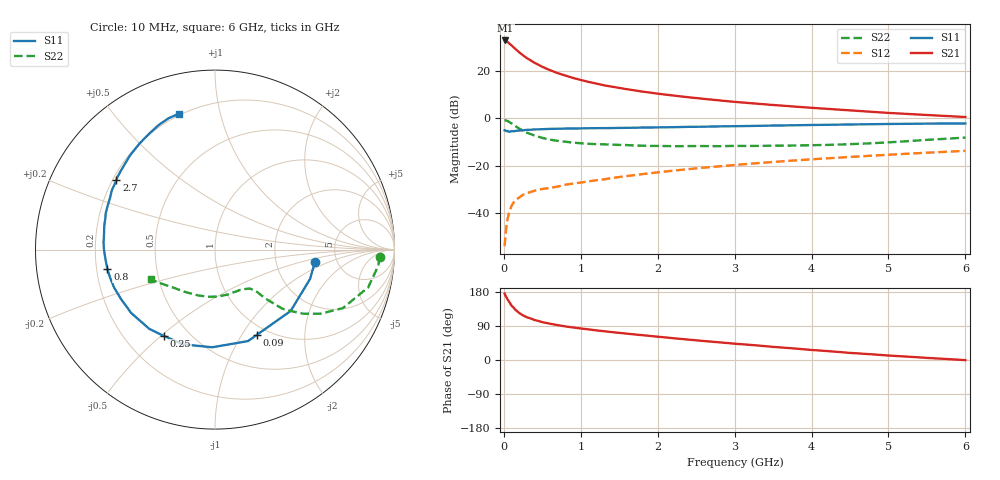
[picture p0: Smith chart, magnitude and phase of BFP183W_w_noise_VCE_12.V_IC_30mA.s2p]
! Infineon Technologies  Discrete & RF Semiconductors
! BFP183W
! VCE =  12. V,  IC =  30 mA
! Common Emitter S-Parameters:  Jan 2017
# GHz  S  MA  R  50
!  f  S11  S21  S12  S22
! GHz  MAG  ANG  MAG  ANG  MAG  ANG  MAG  ANG
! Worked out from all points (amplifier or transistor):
!   77 points, 10 MHz to 6 GHz, reference 50 ohm
!   highest |S21| = 32.9 dB at 20 MHz (marker M1)
!   |S21| within 3 dB of that: start of sweep to 130.6 MHz
!   unconditionally stable (mu >= 1): start of sweep to 10.09 MHz; 1.193 GHz to 3.795 GHz
!   at 130 MHz: K = 0.35, MSG = 32.7 dB, |S12| = -35.4 dB
!   at 2.2 GHz: K = 1.09, MAG = 14.1 dB, |S12| = -22.1 dB
!   at 6 GHz: K = 0.85, MSG = 7.1 dB, |S12| = -13.7 dB
!   lowest NFmin = 1.39 dB at 450 MHz
!   S11 on the Smith chart (normalised r, x): 10 MHz: 3.39, -0.70; 90 MHz: 0.88, -1.17; 250 MHz: 0.37, -0.51; 800 MHz: 0.24, -0.08; 2.7 GHz: 0.21, +0.30; 6 GHz: 0.19, +0.75
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0.01  0.5606 -7.3  44.21 175.4  0.002 41.4  0.9182 -2.5
0.02  0.5543 -17.2  44.3 170.6  0.0032 69.2  0.9143 -5.6
0.05  0.5428 -39.0  41.08 159.1  0.0077 67.4  0.8788 -13.9
0.09  0.5295 -64.0  35.94 147.0  0.0129 63.1  0.8 -22.3
0.1  0.5419 -70.1  34.95 143.5  0.0142 62.5  0.7833 -24.6
0.15  0.5445 -91.6  29.32 132.5  0.0189 56.3  0.6879 -31.3
0.2  0.5567 -108.5  24.89 124.1  0.0213 51.4  0.6096 -35.9
0.25  0.5592 -120.6  21.46 117.5  0.0244 49.6  0.5497 -38.7
0.3  0.5736 -129.7  18.72 112.8  0.0263 47.1  0.4989 -41.3
0.4  0.5856 -143.0  14.91 105.4  0.0297 46.7  0.4325 -42.9
0.5  0.5917 -152.3  12.28 100.0  0.0323 46.1  0.3869 -44.1
0.6  0.6006 -159.3  10.45 95.7  0.034 46.1  0.3555 -44.8
0.8  0.6097 -169.7  8.041 88.6  0.0398 49.8  0.3214 -45.7
1.1  0.6193 179.4  5.904 80.8  0.0467 51.8  0.2909 -48.3
1.3  0.6229 173.7  5.011 76.0  0.0515 53.0  0.2833 -50.4
1.6  0.6328 166.5  4.135 69.5  0.0606 55.0  0.2733 -54.6
2.1  0.6488 155.7  3.187 59.6  0.0755 56.8  0.2606 -64.1
2.7  0.6726 144.8  2.492 48.4  0.0941 56.6  0.2595 -77.7
3.1  0.6879 138.3  2.168 41.5  0.1069 55.5  0.2621 -87.4
4.1  0.729 123.9  1.632 25.1  0.1401 51.3  0.2733 -112.6
5.1  0.7648 113.2  1.279 10.6  0.174 46.2  0.3191 -139.0
6  0.7829 105.0  1.07 -0.4  0.2063 40.4  0.3932 -155.1
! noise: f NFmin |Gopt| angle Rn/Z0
0.45  1.39  0.27  180  0.1
0.9  1.43  0.3  -178  0.09
1.9  1.92  0.45  -156  0.1
2.4  2.17  0.5  -152  0.15
